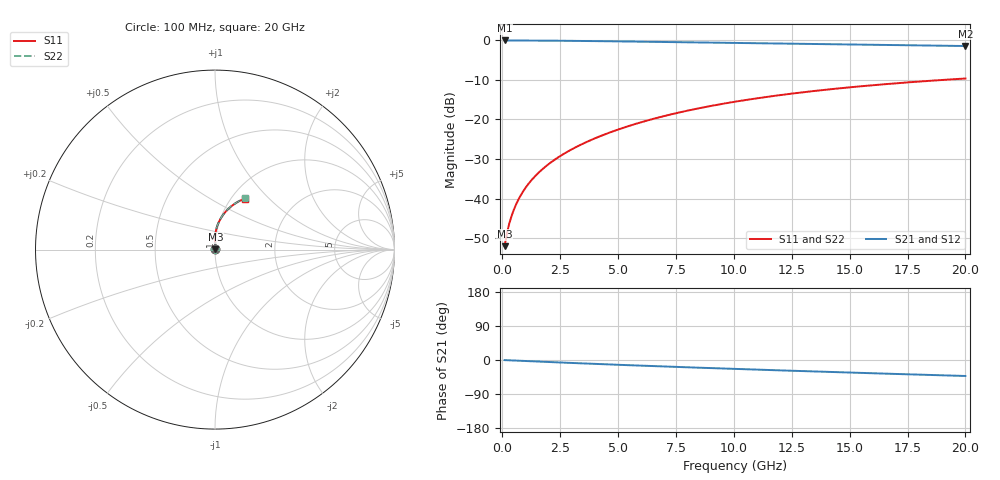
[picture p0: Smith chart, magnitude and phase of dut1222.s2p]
! Touchstone file exported from HFSS 2024.1.0
!  File:  C:/UserFiles/LocalFiles/RDL_TSV_Batchsim/temp_RDL_top_1222_1780240310.aedt
!  Generated:  11:13:50 PM May 31, 2026
!  Design:  RDL_top
!  Project:  temp_RDL_top_1222_1780240310
!  Setup:  Setup1
!  Solution:  Sweep
! Variables:
!  dtsv = 10.80580581um
!  hbump = 3um
!  htsv = 79.1um
!  ldown = 100um
!  lrdl = 619.03um
!  p = 40
!  p1 = 54.9um
!  rhole = 1um
!  t = 450um
!  tdown = 3.915915916um
!  trdl = 4.55um
!  wdown = 15.38538539um
!  wrdl = 27.62um
# GHz S MA R 50.000000
! Terminal data exported
! Port[1] = Box2_T1
! Port[2] = Box2_T2
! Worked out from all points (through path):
!   200 points, 100 MHz to 20 GHz, reference 50 ohm
!   highest |S21| = -0.02 dB at 100 MHz (marker M1); lowest = -1.4 dB at 20 GHz (marker M2)
!   group delay of S21, straight-line fit = 5.77 ps
!   lowest |S11| = -52.1 dB at 100 MHz (marker M3), VSWR 1.01, Z = 50.2 + j0.155 ohm
!   |S11| at or under -10 dB: start of sweep to 19.03 GHz
!   |S22| runs from -52.1 to -9.6 dB; largest |S21 - S12| = 8.1e-15
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0.1  0.002496 38.2  0.998 -0.3  0.998 -0.3  0.002496 38.2
! Gamma 0 0 0 0
! Port Impedance 50 0 50 0
0.2  0.003629 54.3  0.9978 -0.6  0.9978 -0.6  0.003629 54.3
0.3  0.00481 62.4  0.9976 -0.8  0.9976 -0.8  0.00481 62.4
0.4  0.006009 67.7  0.9975 -1.1  0.9975 -1.1  0.006008 67.7
0.5  0.00723 71.4  0.9973 -1.3  0.9973 -1.3  0.00723 71.4
0.6  0.008474 74.2  0.9971 -1.6  0.9971 -1.6  0.008474 74.2
0.8  0.01102 78.2  0.9967 -2.1  0.9967 -2.1  0.01102 78.2
1.1  0.01493 81.8  0.996 -2.9  0.996 -2.9  0.01493 81.8
1.5  0.0203 84.6  0.9946 -4.0  0.9946 -4.0  0.0203 84.7
2.1  0.02865 87.1  0.992 -5.5  0.992 -5.5  0.02866 87.1
2.7  0.03738 88.4  0.9887 -7.1  0.9887 -7.1  0.0374 88.5
3.5  0.04965 89.3  0.9834 -9.1  0.9834 -9.1  0.04969 89.4
4.2  0.06098 89.5  0.9782 -10.8  0.9782 -10.8  0.06104 89.6
5  0.07454 89.2  0.9718 -12.6  0.9718 -12.6  0.07463 89.2
5.9  0.09046 88.3  0.9643 -14.7  0.9643 -14.7  0.09059 88.4
6.8  0.1069 87.0  0.9565 -16.7  0.9565 -16.7  0.1071 87.1
8.4  0.1367 84.1  0.9427 -20.1  0.9427 -20.1  0.137 84.2
10.1  0.1685 80.5  0.9283 -23.6  0.9283 -23.6  0.1689 80.6
11.7  0.1978 77.0  0.9149 -26.8  0.9149 -26.8  0.1982 77.1
13.4  0.2279 73.2  0.901 -30.1  0.901 -30.1  0.2283 73.3
16.7  0.2819 66.1  0.8744 -36.3  0.8744 -36.3  0.2825 66.2
20  0.3297 59.5  0.8486 -42.2  0.8486 -42.2  0.3304 59.6
